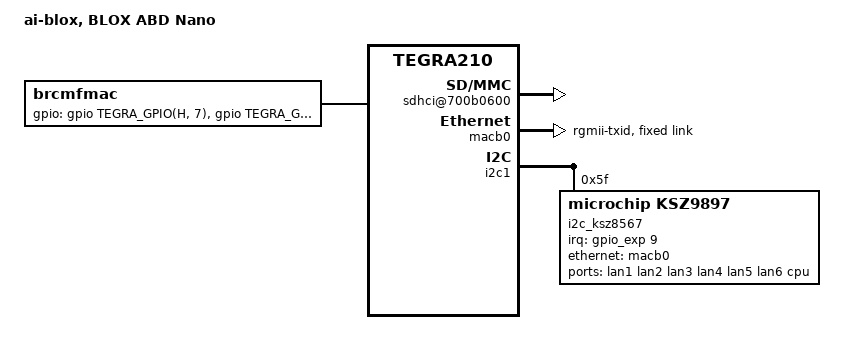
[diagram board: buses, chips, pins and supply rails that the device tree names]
/*
 * arch/arm64/boot/dts/tegra210-p3448-0000-p3449-0000-b00.dts
 *
 * Copyright (c) 2018-2019, NVIDIA CORPORATION.  All rights reserved.
 *
 * This program is free software; you can redistribute it and/or modify
 * it under the terms of the GNU General Public License as published by
 * the Free Software Foundation; version 2 of the License.
 *
 * This program is distributed in the hope that it will be useful, but WITHOUT
 * ANY WARRANTY; without even the implied warranty of MERCHANTABILITY or
 * FITNESS FOR A PARTICULAR PURPOSE.  See the GNU General Public License for
 * more details.
 *
 * You should have received a copy of the GNU General Public License along
 * with this program; if not, write to the Free Software Foundation, Inc.,
 * 51 Franklin Street, Fifth Floor, Boston, MA  02110-1301, USA.
 *
 */

#include "tegra210-porg-p3448-abd-common.dtsi"
#include "porg-platforms/tegra210-porg-pinmux-aibp0021pb.dtsi"
#include "porg-platforms/tegra210-porg-gpio-aibp0021pb.dtsi"
#include "porg-platforms/tegra210-porg-p3448-emc-a00.dtsi"

/ {
	model = "ai-blox, BLOX ABD Nano";
	compatible = "nvidia,p3449-0000-b00+p3448-0002-b00", "nvidia,jetson-nano", "nvidia,tegra210";
	nvidia,dtsfilename = __FILE__;
	aiblox,hdmi = "0x25";

	sdhci@700b0600 { /* SDMMC4 for EMMC */
		status = "okay";
	};

	sdhci@700b0000 { /* SDMMC1 for SD card */
		status = "disabled";
	};

	spi@70410000 { /* QSPI */
		status = "disabled";
	};

	gpio@6000d000 {
		/* gpio-name for 40-pin header, gpio-name given as COL(10) x ROW(20) */
		gpio-line-names = "",   "",     "",     "",     "",     "",     "",     "",     "",     "",
		"",     "",     "SPI1_MOSI",    "SPI1_MISO",    "SPI1_SCK",     "SPI1_CS0",     "SPI0_MOSI",    "SPI0_MISO",    "SPI0_SCK",     "SPI0_CS0",
		"SPI0_CS1",     "",     "",     "",     "",     "",     "",     "",     "",     "",
		"",     "",     "",     "",     "",     "",     "",     "",     "GPIO13",      "",
		"",     "",     "",     "",     "",     "",     "",     "",     "",     "",
		"UART1_RTS",    "UART1_CTS",    "",     "",     "",     "",     "",     "",     "",     "",
		"",     "",     "",     "",     "",     "",     "",     "",     "",     "",
		"",     "",     "",     "",     "",     "",     "I2S0_FS",    "I2S0_DIN",    "I2S0_DOUT",   "I2S0_SCLK",
		"",     "",     "",     "",     "",     "",     "",     "",     "",     "",
		"",     "",     "",     "",     "",     "",     "",     "",     "",     "",
		"",     "",     "",     "",     "",     "",     "",     "",     "",     "",
		"",     "",     "",     "",     "",     "",     "",     "",     "",     "",
		"",     "",     "",     "",     "",     "",     "",     "",     "",     "",
		"",     "",     "",     "",     "",     "",     "",     "",     "",     "",
		"",     "",     "",     "",     "",     "",     "",     "",     "",     "GPIO01",
		"",     "",     "",     "",     "",     "",     "",     "",     "",     "",
		"",     "",     "",     "",     "",     "",     "",     "",     "GPIO07",   "",
		"",     "",     "",     "",     "",     "",     "",     "",     "",     "",
		"",     "",     "",     "",     "",     "",     "",     "",     "",     "",
		"",     "",     "",     "",     "",       "",     "",     "",     "",     "",
		"GPIO11",      "",     "",     "",     "",     "",     "",     "",     "",     "",
		"",     "",     "",     "",     "",     "",     "GPIO09",     "",     "",     "",
		"",     "",     "",     "",     "",     "",     "",     "",     "",     "",
		"",     "",     "SPI1_CS1",     "",     "",     "",     "",     "",     "",     "";
	};

	brcmfmac: brcmfmac {
		compatible = "brcmfmac";
		status = "okay";
		active-low;
		gpios = <&gpio TEGRA_GPIO(H, 7) GPIO_ACTIVE_HIGH>, /* WLAN */
				<&gpio TEGRA_GPIO(I, 1) GPIO_ACTIVE_HIGH>; /* BT */
	};

	macb0: ethernet@f0028000 {
		phy-mode = "rgmii-txid";
		#address-cells = <1>;
		#size-cells = <0>;
		status = "okay";

		fixed-link {
			speed = <1000>;
			full-duplex;
		};
	};
};

&i2c1 {
	i2c_ksz8567: ksz8567@5f {
		compatible = "microchip,ksz9897";
		reg = <0x5f>;
		phy-mode = "rgmii-id";

		interrupt-parent = <&gpio_exp>;
		interrupts = <9 IRQ_TYPE_EDGE_FALLING>;
		status = "okay";
		ports {
			#address-cells = <1>;
			#size-cells = <0>;
			port@0 {
				reg = <0>;
				label = "lan1";
			};
			port@1 {
				reg = <1>;
				label = "lan2";
			};
			port@2 {
				reg = <2>;
				label = "lan3";
			};
			port@3 {
				reg = <3>;
				label = "lan4";
			};
			port@4 {
				reg = <4>;
				label = "lan5";
			};
			port@5 {
				reg = <5>;
				label = "lan6";
				fixed-link {
					speed = <1000>;
					full-duplex;
				};
			};
			port@6 {
				reg = <6>;
				label = "cpu";
				ethernet = <&macb0>;
				fixed-link {
					speed = <1000>;
					full-duplex;
				};
			};
		};
	};
};
